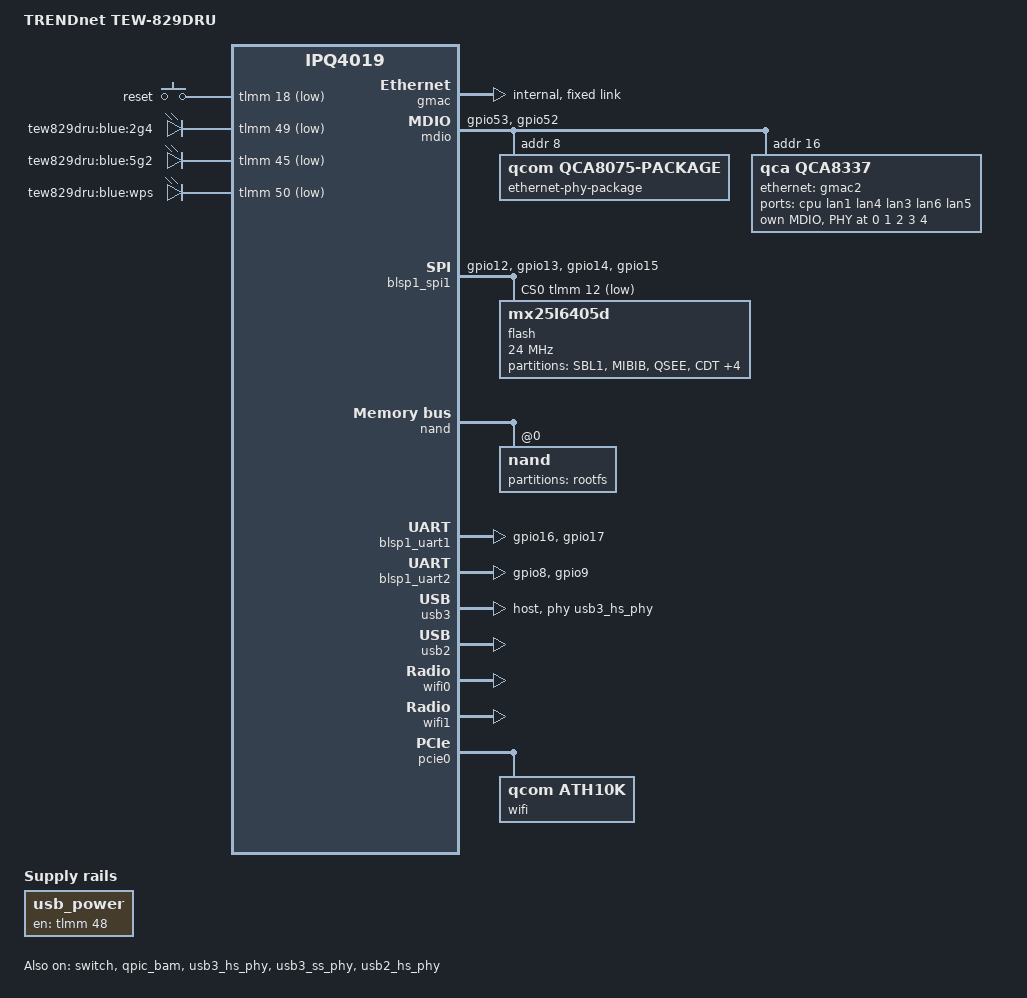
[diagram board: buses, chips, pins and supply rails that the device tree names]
// SPDX-License-Identifier: GPL-2.0-or-later OR MIT
// Copyright (c) 2018, The Linux Foundation. All rights reserved.
// Copyright (c) 2026, mooleshacat <mooleshacat@catspeed.cc>

/*
 *		What is working?
 *			
 *			- UART
 *			- CPU
 *			- RAM
 *			- USB
 *			- 8MB Flash (Macronix MX25L6433F SPI NOR 8MB // single stock bootloader, ART, etc.)
 *			- 128MB nand (Micron MT29F1G08ABADA NAND 128MB // 2x kernel, 2x rootfs, 1x rootfs_data)
 *			- wifi (QCA9984, QCA4019)
 *			- switches (QCA8075, QCA8337)
 *			- LEDs (will resolve last :P)
 *
 *		What is NOT working?
 *			
 *			- possible reset button
 *			- proper install/sysupgrade integration
 *
 *	NOTICE: THIS DTS DESCRIBES THE OPTIMAL CONFIGURATION FOR MAXIMUM HARDWARE FREEDOM :3
 *
 */

#include "qcom-ipq4019-ap.dk04.1.dtsi"

/ {

	model = "TRENDnet TEW-829DRU";
	compatible = "trendnet,tew-829dru", "qcom,ipq4019-dk04.1-c1", "qcom,ipq4019";
	
	chosen {
		bootargs = "console=ttyMSM0,115200n8 rootfstype=squashfs,jffs2 iommu.passthrough=1";
	};
	
	aliases {
		ethernet0 = &gmac;
		ethernet1 = &gmac2;
		mtd0 = &sbl1_part;
		mtd1 = &mibib_part;
		mtd2 = &qsee_part;
		mtd3 = &cdt_part;
		mtd4 = &ddrparams_part;
		mtd5 = &appsblenv_part;
		mtd6 = &appsbl_part;
		mtd7 = &art_part;
		mtd8 = &rootfs_part;
	};
	
	gpio-keys {
		compatible = "gpio-keys";
		
		reset {
			label = "reset";
			gpios = <&tlmm 18 GPIO_ACTIVE_LOW>;
			linux,code = <KEY_RESTART>;
		};
	};
	
	regulators {
		compatible = "simple-bus";

		usb_power: usb-power-enable {
			compatible = "regulator-fixed";
			regulator-name = "usb-power-enable";
			gpio = <&tlmm 48 GPIO_ACTIVE_HIGH>;
			enable-active-high;
			regulator-always-on;
			regulator-boot-on;
		};
	};
	
	leds {
	
		compatible = "gpio-leds";

		led_2g4: led-2g4 {
			label = "tew829dru:blue:2g4";
			gpios = <&tlmm 49 GPIO_ACTIVE_LOW>;
			linux,default-trigger = "phy0tpt";
			default-state = "off";
		};

		/* MISSING - claimed by qca8k, dont need it */
		/*led_5g1: led-5g1 {
			label = "tew829dru:blue:5g1";
			gpios = <&tlmm ??? GPIO_ACTIVE_LOW>; //temporary - FILL IN GPIO WHEN FOUND!
			default-state = "off";
		};*/
		
		led_5g2: led-5g2 {
			label = "tew829dru:blue:5g2";
			gpios = <&tlmm 45 GPIO_ACTIVE_LOW>;
			linux,default-trigger = "phy1tpt";
			default-state = "off";
		};

		led_wps: led-wps {
			label = "tew829dru:blue:wps";
			gpios = <&tlmm 50 GPIO_ACTIVE_LOW>;
			default-state = "off";
		};
		
	}; /* end of leds */
	
}; /* end of root block */




/* ============================================================
 * EDMA — dual conduit netdev for side-by-side DSA.
 * eth0 (netdev)  -> QCA8075 DSA tree 0
 * eth1 (netdev2) -> QCA8337 DSA tree 1
 * gmac2 child node is the of_node anchor for netdev2 so DSA
 * can resolve 'ethernet = <&gmac2>' via of_find_net_device_by_node().
 * ============================================================ */
&gmac {
	status = "okay";
	phy-mode = "internal";
	qcom,dual-switch;
	fixed-link {
		speed = <1000>;
		full-duplex;
		pause;
	};

	/* Anchor node for netdev2 (eth1).
	 * No hardware here — driver sets netdev2->dev.of_node to this node. */
	gmac2: gmac2 {
		/* intentionally empty */
	};
};




/* ============================================================
 * TOP SWITCH: QCA8075 (internal ESS, PSGMII, at 0xc000000)
 * compatible = "qca,ipq4019-qca8337n" — confirmed by extracted DTS.
 * CPU port points to &gmac (eth0) — DSA tree 0.
 * psgmii-ethphy = ethphy@12 (reg=0x0c) — confirmed by extracted DTS.
 * ============================================================ */
&switch {
	status = "okay";
	compatible = "qca,ipq4019-qca8337n";

	dsa,member = <0 0>;

	mdio-bus = <&mdio>;
	psgmii-ethphy = <&ethphy12>;

	/delete-node/ ports;

	ports {
		#address-cells = <1>;
		#size-cells = <0>;

		port@0 {
			reg = <0>;
			label = "cpu";
			ethernet = <&gmac>;
			phy-mode = "internal";
			fixed-link {
				speed = <1000>;
				full-duplex;
				pause;
				asym-pause;
			};
		};

		port@1 {
			reg = <1>;
			label = "wan2";
			phy-handle = <&ethphy8>;
			phy-mode = "psgmii";
		};

		port@2 {
			reg = <2>;
			label = "wan1";
			phy-handle = <&ethphy9>;
			phy-mode = "psgmii";
		};

		port@3 {
			reg = <3>;
			label = "lan7";
			phy-handle = <&ethphy10>;
			phy-mode = "psgmii";
		};

		port@4 {
			reg = <4>;
			label = "lan8";
			phy-handle = <&ethphy11>;
			phy-mode = "psgmii";
		};

		port@5 {
			reg = <5>;
			label = "lan2";
			phy-handle = <&ethphy12>;
			phy-mode = "psgmii";
		};

		/* port@6 REMOVED — qca8k num_ports=6 (indices 0-5 only).
		 * eth0/eth1 split is handled entirely in ipqess driver
		 * software via netdev2/gmac2 anchor. No DTS port needed. */
		 
	};
}; /* end of &switch */




/* ============================================================
 * MDIO bus — QCA8075 PHY package + QCA8337 external switch.
 * gpio52 = MDC, gpio53 = MDIO — confirmed by extracted DTS.
 * NOTE: gpio53 is also used by NAND (qpic). NAND is disabled.
 *       Do NOT enable both simultaneously.
 * ============================================================ */
&mdio {
	status = "okay";
	pinctrl-0 = <&mdio_pins>;
	pinctrl-names = "default";

	/delete-node/ ethernet-phy-package@0;

	/* QCA8075: 5-port PSGMII PHY package.
	 * MDIO base address 8 — confirmed by extracted DTS.
	 * ethphy12 doubles as psgmii-ethphy (calibration PHY). */
	ethernet-phy-package@8 {
		#address-cells = <1>;
		#size-cells = <0>;
		compatible = "qcom,qca8075-package";
		reg = <8>;
		qcom,tx-drive-strength-milliwatt = <300>;

		ethphy8:  ethernet-phy@8  { reg = <8>;  };   /* WAN1 — switch port@1 */
		ethphy9:  ethernet-phy@9  { reg = <9>;  };   /* WAN2 — switch port@2 */
		ethphy10: ethernet-phy@10 { reg = <10>; };   /* LAN1 — switch port@3 */
		ethphy11: ethernet-phy@11 { reg = <11>; };   /* LAN2 — switch port@4 */
		ethphy12: ethernet-phy@12 { reg = <12>; };   /* LAN3 — switch port@5 / psgmii cal PHY */
	};

	/* ============================================================
	 * BOTTOM SWITCH: QCA8337 (external, RGMII, at MDIO addr 0x10)
	 * compatible = "qca,qca8337" — upstream qca8k.c match string.
	 * CPU port: phy-mode=rgmii, ethernet=<&gmac2> -> eth1 (netdev2).
	 * dsa,member = <1 0> — independent DSA tree 1.
	 * Internal PHY addresses 0-4 confirmed by extracted DTS.
	 * ============================================================ */
	qca8337: switch@10 {
		compatible = "qca,qca8337";
		#address-cells = <1>;
		#size-cells = <0>;
		reg = <0x10>;

		dsa,member = <1 0>;

		ports {
			#address-cells = <1>;
			#size-cells = <0>;

			port@0 {
				reg = <0>;
				label = "cpu";
				ethernet = <&gmac2>;
				phy-mode = "rgmii";
				fixed-link {
					speed = <1000>;
					full-duplex;
				};
			};

			port@1 {
				reg = <1>;
				label = "lan1";
				phy-mode = "internal";
				phy-handle = <&qca8337_phy0>;
			};

			port@2 {
				reg = <2>;
				label = "lan4";
				phy-mode = "internal";
				phy-handle = <&qca8337_phy1>;
			};

			port@3 {
				reg = <3>;
				label = "lan3";
				phy-mode = "internal";
				phy-handle = <&qca8337_phy2>;
			};

			port@4 {
				reg = <4>;
				label = "lan6";
				phy-mode = "internal";
				phy-handle = <&qca8337_phy3>;
			};

			port@5 {
				reg = <5>;
				label = "lan5";
				phy-mode = "internal";
				phy-handle = <&qca8337_phy4>;
			};
		};
		
		/* QCA8337 internal MDIO bus.
		 * Local PHY addresses 0-4 confirmed by extracted DTS. */
		mdio {
			#address-cells = <1>;
			#size-cells = <0>;

			qca8337_phy0: ethernet-phy@0 { reg = <0>; };   /* lan4 */
			qca8337_phy1: ethernet-phy@1 { reg = <1>; };   /* lan5 */
			qca8337_phy2: ethernet-phy@2 { reg = <2>; };   /* lan6 */
			qca8337_phy3: ethernet-phy@3 { reg = <3>; };   /* lan7 */
			qca8337_phy4: ethernet-phy@4 { reg = <4>; };   /* lan8 */
		};
	};
}; /* end of &mdio */




/* 8MB FLASH CHIP (Macronix MX25L6433F SPI NOR 8MB) */
&blsp1_spi1 {

	status = "okay";

	pinctrl-0 = <&spi_0_pinmux>;
	pinctrl-names = "default";

	cs-gpios = <&tlmm 12 GPIO_ACTIVE_LOW>;

	flash: flash@0 {

		#address-cells = <1>;
		#size-cells = <1>;

		compatible = "mx25l6405d", "jedec,spi-nor";

		reg = <0>;
		spi-max-frequency = <24000000>;

		partitions {
			compatible = "fixed-partitions";
			#address-cells = <1>;
			#size-cells = <1>;

			sbl1_part: partition@0 {
				label = "SBL1";
				reg = <0x0 0x40000>;
				read-only;
			};

			mibib_part: partition@40000 {
				label = "MIBIB";
				reg = <0x40000 0x20000>;
				read-only;
			};

			qsee_part: partition@60000 {
				label = "QSEE";
				reg = <0x60000 0x60000>;
				read-only;
			};

			cdt_part: partition@c0000 {
				label = "CDT";
				reg = <0xc0000 0x10000>;
				read-only;
			};

			ddrparams_part: partition@d0000 {
				label = "DDRPARAMS";
				reg = <0xd0000 0x10000>;
				read-only;
			};

			appsblenv_part: partition@e0000 {
				label = "APPSBLENV";
				reg = <0xe0000 0x10000>;
			};

			appsbl_part: partition@f0000 {
				label = "APPSBL";
				reg = <0xf0000 0x80000>;
				read-only;
			};

			art_part: partition@170000 {
				label = "ART";
				reg = <0x170000 0x10000>;
				read-only;
			};
		};
	};
};
/* end of &blsp1_spi1 (Macronix MX25L6433F SPI NOR 8MB) */




/* start of &qpic_bam (for Micron MT29F1G08ABADA NAND 128MB) */
&qpic_bam {
	status = "okay";
};
/* end of &qpic_bam (Micron MT29F1G08ABADA NAND 128MB) */

/* start of &nand (Micron MT29F1G08ABADA NAND 128MB) */
&nand {
	status = "okay";

	/* pinctrl removed — gpio53 owned by mdio permanently.
	 * NAND uses remaining QPIC pins (gpio55-69 minus gpio61).
	 * gpio53 shared at hardware level, mdio claims it exclusively. */
	 /delete-property/ pinctrl-0;
	 /delete-property/ pinctrl-names;

	nand@0 {
		reg = <0>;

		nand-ecc-strength = <4>;
		nand-ecc-step-size = <512>;
		nand-bus-width = <8>;
		
		/* nand-is-boot-medium REMOVED — not in spi-extracted.dts,
		* boot is on SPI NOR (SBL1), not NAND. Causes BBM read errors. */

		/* NOTICE:	THIS DIVERGES FROM MFR SPI-EXTRACTED.DTS */
		/*			rootfs_1 & overlay has been merged into rootfs. */
		/*			sysupgrade manages kernel, rootfs, and rootfs_data */
		/*			internally — no separate overlay partition needed. */
		/*			Use firstboot to reset overlay, sysupgrade for clean install. */
		partitions {
			compatible = "fixed-partitions";
			#address-cells = <1>;
			#size-cells = <1>;

			rootfs_part: partition@0 {
				label = "rootfs";
				reg = <0x00000000 0x08000000>; /* 128MB (merged rootfs + overlay) */
			};
		};
	};
};
/* end of &nand (Micron MT29F1G08ABADA NAND 128MB) */




&blsp1_uart1 {
	status = "okay";
	pinctrl-0 = <&tew_uart0_pins>;
	pinctrl-names = "default";
};

&blsp1_uart2 {
	status = "okay";
	pinctrl-0 = <&tew_uart1_pins>;
	pinctrl-names = "default";
};   




&tlmm {

	/delete-node/ nand_pins; /* nuke the parent DTSI's nand_pins */

	/* Verbatim from spi-extracted.dts nand-state.
	 * gpio53 included — required for QPIC bus data transfer.
	 * gpio52 excluded — MDC only, permanently owned by mdio_pins.
	 * pinctrl-0 removed from &nand node so NAND driver does not
	 * claim gpio53 at probe time, avoiding conflict with mdio.
	 * MDIO owns gpio53 exclusively via pinctrl, NAND uses it
	 * at the hardware level without the kernel pinctrl layer
	 * fighting over it. No bias — matches manufacturer style. */
	nand_pins: nand-state {
		pins = "gpio53", "gpio55", "gpio56", "gpio57", "gpio58",
			   "gpio59", "gpio60", "gpio62", "gpio63",
			   "gpio64", "gpio65", "gpio66", "gpio67",
			   "gpio68", "gpio69";
		function = "qpic";
	};
	
	mdio_pins: mdio_pinmux {
		pinmux_1 {
			pins = "gpio53";
			function = "mdio";
		};
		pinmux_2 {
			pins = "gpio52";
			function = "mdc";
		};
		pinconf {
			pins = "gpio52", "gpio53";
			bias-pull-up;
		};
	};

	/* pinmux / gpios */
	
	/* Using Stock Router Pinout for UART0 (Console) */
	tew_uart0_pins: uart0-state {
		pins = "gpio16", "gpio17"; 
		function = "blsp_uart0";
		bias-disable;
	};

	/* Using Stock Router Pinout for UART1 (2 pins, not 4) */
	tew_uart1_pins: uart1-state {
		pins = "gpio8", "gpio9"; 
		function = "blsp_uart1";
		bias-disable;
	};

	uart1_pins: uart1_pinmux {
		mux {
			pins = "gpio8", "gpio9", "gpio10", "gpio11";
			function = "blsp_uart1";
			bias-disable;
		};
	};

	spi_0_pinmux: spi_0_pinmux {
		mux {
			pins = "gpio12", "gpio13", "gpio14", "gpio15";
			function = "blsp_spi0";
			bias-disable;
		};
	};

	/* needed for ath10k / PCIe WiFi */
	i2c_0_pinmux: i2c_0_pinmux {
		mux {
			pins = "gpio20", "gpio21";
			function = "blsp_i2c0";
			bias-disable;
		};
	};

	ts_0_pinmux: ts_0_pinmux {

		mux_1 {
			pins = "gpio34";
			output-high;
		};

		mux_2 {
			pins = "gpio35";
			input-enable;
			bias-pull-up;
		};
	};
	/* end of pinmux/gpios */
	
};
/* end of &tlmm */




&usb3 {
	status = "okay";
	dr_mode = "host";
	phys = <&usb3_hs_phy>, <&usb3_ss_phy>;
	phy-names = "usb2-phy", "usb3-phy";
	/* vbus-supply removed because GPIO 48 hog handles power enable */
};

&usb3_hs_phy {
	status = "okay";
};

&usb3_ss_phy {
	status = "okay";
};

&usb2 {
	status = "okay";
};

&usb2_hs_phy {
	status = "okay";
};




/* QCA4019 2GHZ */
&wifi0 {
	status = "okay";
	qcom,ath10k-calibration-variant = "TEW-829DRU-2G";
	nvmem-cells = <&caldata_art_1000>;
	nvmem-cell-names = "pre-calibration";
};

/* QCA4019 5GHZ */
&wifi1 {
	status = "okay";
	qcom,ath10k-calibration-variant = "TEW-829DRU-5G";
	nvmem-cells = <&caldata_art_5000>;
	nvmem-cell-names = "pre-calibration";
};

/* QCA9984 5GHZ */
&pcie0 {
	status = "okay";

	pcie_bridge0: pcie@0 {
		device_type = "pci";
		reg = <0x0 0x0 0x0 0x0 0x0>;
		bus-range = <0x01 0xff>;
		#address-cells = <3>;
		#size-cells = <2>;
		ranges;

		wifi@0,0 {
			status = "okay";
			compatible = "qcom,ath10k";
			reg = <0x00010000 0 0 0 0>;
			nvmem-cells = <&caldata_art_9000>;
			nvmem-cell-names = "pre-calibration";
		};
	};
};




/* ART data / caldata for wifi */
&art_part {
	compatible = "nvmem-cells";
	#address-cells = <1>;
	#size-cells = <1>;

	macaddr_art_0: macaddr@0 {
		reg = <0x0 0x6>;
	};

	/* QCA4019 2.4GHz - AHB radio wifi0 */
	caldata_art_1000: caldata@1000 {
		reg = <0x1000 0x2f20>;
	};

	/* QCA4019 5GHz - AHB radio wifi1 */
	caldata_art_5000: caldata@5000 {
		reg = <0x5000 0x2f20>;
	};

	/* QCA9984 5GHz - PCIe radio */
	caldata_art_9000: caldata@9000 {
		reg = <0x9000 0x2f20>;
	};
};
